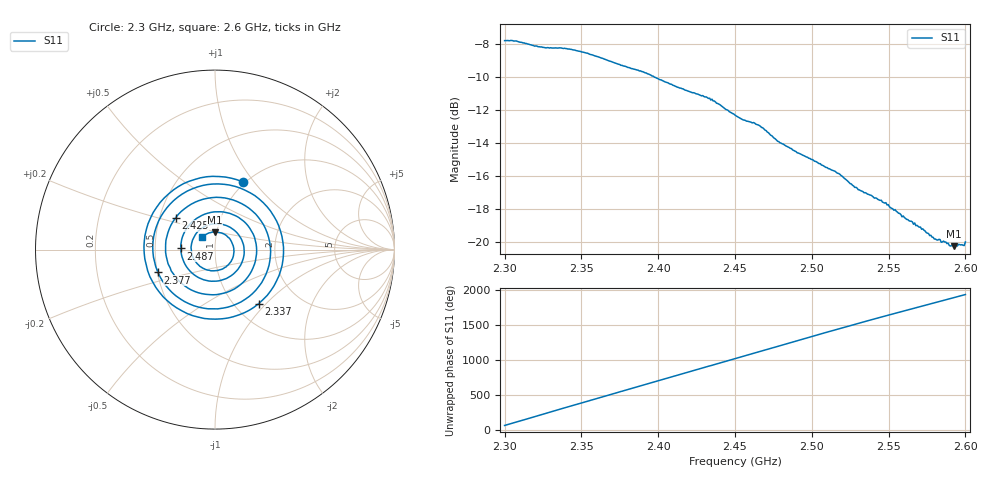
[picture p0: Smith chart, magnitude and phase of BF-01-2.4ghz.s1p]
! NanoVNA-App
! Date: 2026-05-22 18:05:13
! Start: 2.3GHz Stop: 2.6GHz Points: 401
! S-Parameter data: F S11
# Hz S RI R 50
!  Frequency  S11_Real  S11_Imag
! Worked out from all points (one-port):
!   401 points, 2.3 GHz to 2.6 GHz, reference 50 ohm
!   lowest |S11| = -20.2 dB at 2.592 GHz (marker M1), VSWR 1.22, Z = 48.8 + j9.6 ohm
!   |S11| at or under -10 dB: 2.398 GHz to end of sweep
!   S11 on the Smith chart (normalised r, x): 2.3 GHz: 0.97, +0.88; 2.337 GHz: 1.28, -0.91; 2.377 GHz: 0.50, -0.14; 2.425 GHz: 0.61, +0.23; 2.487 GHz: 0.68, +0.01; 2.6 GHz: 0.86, +0.12
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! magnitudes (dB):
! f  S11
! 2.3 GHz  -7.8
! 2.307 GHz  -7.8
! 2.325 GHz  -8.2
! 2.337 GHz  -8.2
! 2.353 GHz  -8.5
! 2.375 GHz  -9.2
! 2.377 GHz  -9.3
! 2.392 GHz  -9.7
! 2.413 GHz  -10.6
! 2.425 GHz  -11.0
! 2.435 GHz  -11.3
! 2.45 GHz  -12.3
! 2.456 GHz  -12.6
! 2.466 GHz  -13.0
! 2.478 GHz  -13.9
! 2.487 GHz  -14.4
! 2.517 GHz  -15.8
! 2.525 GHz  -16.4
! 2.532 GHz  -16.9
! 2.548 GHz  -17.6
! 2.562 GHz  -18.6
! 2.572 GHz  -19.2
! 2.58 GHz  -19.8
! 2.587 GHz  -20.0
! 2.591 GHz  -20.2
! 2.592 GHz  -20.2
! 2.598 GHz  -20.1
! 2.6 GHz  -20.0
